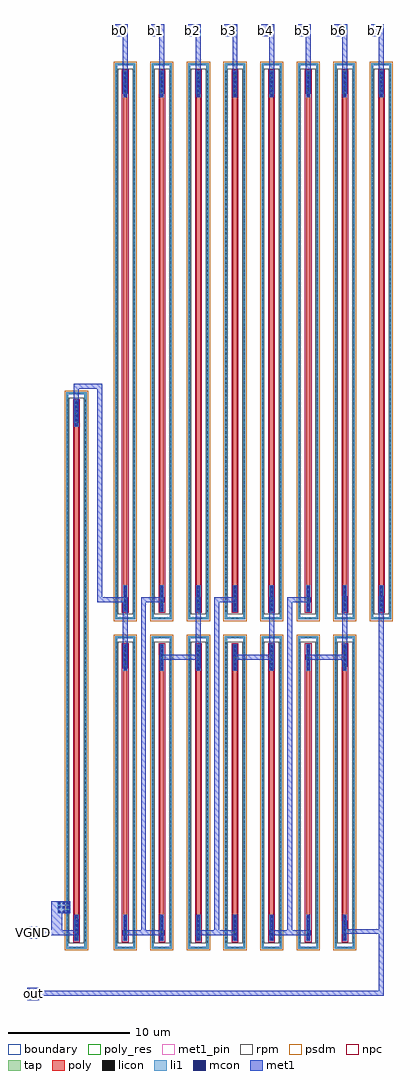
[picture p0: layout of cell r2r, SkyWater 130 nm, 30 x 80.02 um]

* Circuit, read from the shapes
.subckt r2r VGND b0 b1 b2 b3 b4 b5 b6 b7 out
XR1 n1 VGND VGND sky130_fd_pr__res_high_po w=0.35 l=40.04
XR2 n1 n2 VGND sky130_fd_pr__res_high_po w=0.35 l=20.04
XR3 b0 n1 VGND sky130_fd_pr__res_high_po w=0.35 l=40.04
XR4 n3 n2 VGND sky130_fd_pr__res_high_po w=0.35 l=20.04
XR5 b1 n2 VGND sky130_fd_pr__res_high_po w=0.35 l=40.04
XR6 n3 n4 VGND sky130_fd_pr__res_high_po w=0.35 l=20.04
XR7 b2 n3 VGND sky130_fd_pr__res_high_po w=0.35 l=40.04
XR8 n5 n4 VGND sky130_fd_pr__res_high_po w=0.35 l=20.04
XR9 b3 n4 VGND sky130_fd_pr__res_high_po w=0.35 l=40.04
XR10 n5 n6 VGND sky130_fd_pr__res_high_po w=0.35 l=20.04
XR11 b4 n5 VGND sky130_fd_pr__res_high_po w=0.35 l=40.04
XR12 n7 n6 VGND sky130_fd_pr__res_high_po w=0.35 l=20.04
XR13 b5 n6 VGND sky130_fd_pr__res_high_po w=0.35 l=40.04
XR14 n7 out VGND sky130_fd_pr__res_high_po w=0.35 l=20.04
XR15 b6 n7 VGND sky130_fd_pr__res_high_po w=0.35 l=40.04
XR16 b7 out VGND sky130_fd_pr__res_high_po w=0.35 l=40.04
.ends

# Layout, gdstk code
import gdstk
lib = gdstk.Library(unit=1e-6, precision=1e-09)
def R(c, l, rs):  # rectangles x0, y0, x1, y1
    for r in rs: c.add(gdstk.rectangle(r[:2], r[2:], *l))
def A(c, l, x, y, w, h, nx, ny, dx, dy):  # array of equal rectangles
    R(c, l, [(x+i*dx, y+j*dy, x+i*dx+w, y+j*dy+h) for i in range(nx) for j in range(ny)])
tap = (65, 44)
poly_res = (66, 13)
poly = (66, 20)
licon = (66, 44)
li1 = (67, 20)
mcon = (67, 44)
met1_pin = (68, 16)
met1 = (68, 20)
rpm = (86, 20)
psdm = (94, 20)
npc = (95, 20)
boundary = (235, 4)

sky130_fd_pr__res_high_p = lib.new_cell('sky130_fd_pr__res_high_po_0p35_3KK54B')
R(sky130_fd_pr__res_high_p, tap, [(-0.825,-22.81,0.825,-22.64), (-0.825,-22.64,-0.655,22.64), (0.655,-22.64,0.825,22.64), (-0.825,22.64,0.825,22.81)])
R(sky130_fd_pr__res_high_p, poly_res, [(-0.175,-20.08,0.175,20.08)])
R(sky130_fd_pr__res_high_p, poly, [(-0.175,-22.16,0.175,22.16)])
A(sky130_fd_pr__res_high_p, licon, -0.825, -22.185, 0.17, 0.17, 1, 131, 0, 0.34)
A(sky130_fd_pr__res_high_p, licon, 0.655, -22.185, 0.17, 0.17, 1, 131, 0, 0.34)
R(sky130_fd_pr__res_high_p, licon, [(-0.255,-22.81,-0.085,-22.64), (0.085,-22.81,0.255,-22.64), (-0.095,-22.08,0.095,-20.08), (-0.095,20.08,0.095,22.08), (-0.255,22.64,-0.085,22.81), (0.085,22.64,0.255,22.81)])
R(sky130_fd_pr__res_high_p, li1, [(-0.825,-22.81,0.825,-22.64), (-0.825,-22.64,-0.655,22.64), (0.655,-22.64,0.825,22.64), (-0.175,-22.16,0.175,-20), (-0.175,20,0.175,22.16), (-0.825,22.64,0.825,22.81)])
A(sky130_fd_pr__res_high_p, mcon, -0.085, -22.065, 0.17, 0.17, 1, 6, 0, 0.36)
A(sky130_fd_pr__res_high_p, mcon, -0.085, 20.09, 0.17, 0.17, 1, 6, 0, 0.36)
R(sky130_fd_pr__res_high_p, met1, [(-0.125,-22.13,0.125,-20.025), (-0.125,20.025,0.125,22.13)])
R(sky130_fd_pr__res_high_p, rpm, [(-0.635,-22.36,0.635,22.36)])
R(sky130_fd_pr__res_high_p, psdm, [(-0.95,-22.935,0.95,22.935)])
R(sky130_fd_pr__res_high_p, npc, [(-0.27,-22.255,0.27,22.255)])
R(sky130_fd_pr__res_high_p, boundary, [(-0.74,-22.725,0.74,22.725)])

c_sky130_fd_pr__res_high_p = lib.new_cell('sky130_fd_pr__res_high_po_0p35_QPS5FG')
R(c_sky130_fd_pr__res_high_p, tap, [(-0.825,-12.81,0.825,-12.64), (-0.825,-12.64,-0.655,12.64), (0.655,-12.64,0.825,12.64), (-0.825,12.64,0.825,12.81)])
R(c_sky130_fd_pr__res_high_p, poly_res, [(-0.175,-10.08,0.175,10.08)])
R(c_sky130_fd_pr__res_high_p, poly, [(-0.175,-12.16,0.175,12.16)])
A(c_sky130_fd_pr__res_high_p, licon, -0.825, -12.325, 0.17, 0.17, 1, 73, 0, 0.34)
A(c_sky130_fd_pr__res_high_p, licon, 0.655, -12.325, 0.17, 0.17, 1, 73, 0, 0.34)
R(c_sky130_fd_pr__res_high_p, licon, [(-0.255,-12.81,-0.085,-12.64), (0.085,-12.81,0.255,-12.64), (-0.095,-12.08,0.095,-10.08), (-0.095,10.08,0.095,12.08), (-0.255,12.64,-0.085,12.81), (0.085,12.64,0.255,12.81)])
R(c_sky130_fd_pr__res_high_p, li1, [(-0.825,-12.81,0.825,-12.64), (-0.825,-12.64,-0.655,12.64), (0.655,-12.64,0.825,12.64), (-0.175,-12.16,0.175,-10), (-0.175,10,0.175,12.16), (-0.825,12.64,0.825,12.81)])
A(c_sky130_fd_pr__res_high_p, mcon, -0.085, -12.065, 0.17, 0.17, 1, 6, 0, 0.36)
A(c_sky130_fd_pr__res_high_p, mcon, -0.085, 10.09, 0.17, 0.17, 1, 6, 0, 0.36)
R(c_sky130_fd_pr__res_high_p, met1, [(-0.125,-12.13,0.125,-10.025), (-0.125,10.025,0.125,12.13)])
R(c_sky130_fd_pr__res_high_p, rpm, [(-0.635,-12.36,0.635,12.36)])
R(c_sky130_fd_pr__res_high_p, psdm, [(-0.95,-12.935,0.95,12.935)])
R(c_sky130_fd_pr__res_high_p, npc, [(-0.27,-12.255,0.27,12.255)])
R(c_sky130_fd_pr__res_high_p, boundary, [(-0.74,-12.725,0.74,12.725)])

r2r = lib.new_cell('r2r')
R(r2r, li1, [(-10.51,15.11,-9.57,16.05)])
A(r2r, mcon, -10.485, 15.135, 0.17, 0.17, 3, 3, 0.36, 0.36)
A(r2r, met1_pin, -6, 87, 1, 1, 8, 1, 3, 0)
R(r2r, met1_pin, [(-13.05,7.985,-12.05,8.985), (-13,13,-12,14)])
A(r2r, met1, -5.2, 13.3, 3.4, 0.4, 3, 1, 6, 0)
A(r2r, met1, -3.7, 13.7, 0.4, 26.9, 3, 1, 6, 0)
A(r2r, met1, -2.2, 35.9, 3.4, 0.4, 3, 1, 6, 0)
A(r2r, met1, -3.7, 40.6, 1.9, 0.4, 3, 1, 6, 0)
A(r2r, met1, -5.2, 82.3, 0.4, 4.7, 8, 1, 3, 0)
A(r2r, met1, -6, 87, 1.2, 1, 8, 1, 3, 0)
R(r2r, met1, [(-13.05,7.985,-12.05,8.34), (-13.05,8.34,16.2,8.74), (-13.05,8.74,-12.05,8.985), (15.8,8.74,16.2,13.4), (-13,13,-12,13.3), (-13,13.3,-8.8,13.7), (12.8,13.4,16.2,13.8), (-13,13.7,-12,14), (-11.06,13.7,-10.17,15.08), (-9.2,13.7,-8.8,14.6), (12.8,13.8,13.2,14.5), (15.8,13.8,16.2,37.3), (-11.06,15.08,-9.51,16.08), (-5.2,35.2,-4.8,40.6), (0.8,35.2,1.2,35.9), (6.8,35.2,7.2,35.9), (12.8,35.3,13.2,35.9), (0.8,36.3,1.2,41), (6.8,36.3,7.2,41), (12.8,36.3,13.2,41.1), (15.8,37.3,16.21,37.7), (15.8,37.7,16.2,41.1), (-7.3,40.6,-4.8,41), (-7.3,41,-6.9,58.1), (-9.2,55.3,-8.8,58.1), (-9.2,58.1,-6.9,58.5)])
r2r.add(gdstk.Reference(sky130_fd_pr__res_high_p, (-8.995,34.99)))
r2r.add(gdstk.Reference(c_sky130_fd_pr__res_high_p, (13.005,24.99)))
r2r.add(gdstk.Reference(c_sky130_fd_pr__res_high_p, (10.005,24.99)))
r2r.add(gdstk.Reference(c_sky130_fd_pr__res_high_p, (7.005,24.99)))
r2r.add(gdstk.Reference(c_sky130_fd_pr__res_high_p, (4.005,24.99)))
r2r.add(gdstk.Reference(c_sky130_fd_pr__res_high_p, (1.005,24.99)))
r2r.add(gdstk.Reference(c_sky130_fd_pr__res_high_p, (-1.995,24.99)))
r2r.add(gdstk.Reference(c_sky130_fd_pr__res_high_p, (-4.995,24.99)))
r2r.add(gdstk.Reference(sky130_fd_pr__res_high_p, (16.005,61.99)))
r2r.add(gdstk.Reference(sky130_fd_pr__res_high_p, (13.005,61.99)))
r2r.add(gdstk.Reference(sky130_fd_pr__res_high_p, (10.005,61.99)))
r2r.add(gdstk.Reference(sky130_fd_pr__res_high_p, (7.005,61.99)))
r2r.add(gdstk.Reference(sky130_fd_pr__res_high_p, (4.005,61.99)))
r2r.add(gdstk.Reference(sky130_fd_pr__res_high_p, (1.005,61.99)))
r2r.add(gdstk.Reference(sky130_fd_pr__res_high_p, (-1.995,61.99)))
r2r.add(gdstk.Reference(sky130_fd_pr__res_high_p, (-4.995,61.99)))
r2r.add(gdstk.Label('b0', (-5.5,87.5), layer=68, texttype=5))
r2r.add(gdstk.Label('b1', (-2.5,87.5), layer=68, texttype=5))
r2r.add(gdstk.Label('b2', (0.5,87.5), layer=68, texttype=5))
r2r.add(gdstk.Label('b3', (3.5,87.5), layer=68, texttype=5))
r2r.add(gdstk.Label('b4', (6.5,87.5), layer=68, texttype=5))
r2r.add(gdstk.Label('b5', (9.5,87.5), layer=68, texttype=5))
r2r.add(gdstk.Label('b6', (12.5,87.5), layer=68, texttype=5))
r2r.add(gdstk.Label('b7', (15.5,87.5), layer=68, texttype=5))
r2r.add(gdstk.Label('out', (-12.55,8.485), layer=68, texttype=5))
r2r.add(gdstk.Label('VGND', (-12.5,13.5), layer=68, texttype=5))

lib.write_gds('r2r.gds')
